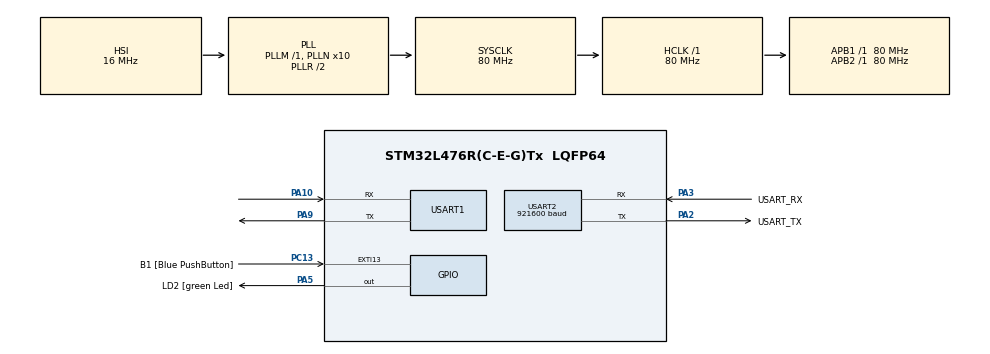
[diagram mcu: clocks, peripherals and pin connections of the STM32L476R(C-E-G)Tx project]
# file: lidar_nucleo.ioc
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FREERTOS.Tasks01=defaultTask,0,128,StartDefaultTask,Default,NULL,Dynamic,NULL,NULL
FREERTOS.configTOTAL_HEAP_SIZE=20000
Mcu.Family=STM32L4
Mcu.Name=STM32L476R(C-E-G)Tx
Mcu.Package=LQFP64
NVIC.PriorityGroup=NVIC_PRIORITYGROUP_4
NVIC.USART1_IRQn=true\:5\:0\:false\:false\:true\:true\:true\:true\:true
PA10.Mode=Asynchronous
PA10.Signal=USART1_RX
PA13\ (JTMS-SWDIO).GPIO_Label=TMS
PA13\ (JTMS-SWDIO).Mode=Serial_Wire
PA13\ (JTMS-SWDIO).Signal=SYS_JTMS-SWDIO
PA14\ (JTCK-SWCLK).GPIO_Label=TCK
PA14\ (JTCK-SWCLK).Mode=Serial_Wire
PA14\ (JTCK-SWCLK).Signal=SYS_JTCK-SWCLK
PA2.GPIO_Label=USART_TX
PA2.GPIO_Mode=GPIO_MODE_AF_PP
PA2.GPIO_PuPd=GPIO_NOPULL
PA2.GPIO_Speed=GPIO_SPEED_FREQ_VERY_HIGH
PA2.Mode=Asynchronous
PA2.Signal=USART2_TX
PA3.GPIO_Label=USART_RX
PA3.GPIO_Mode=GPIO_MODE_AF_PP
PA3.GPIO_PuPd=GPIO_NOPULL
PA3.GPIO_Speed=GPIO_SPEED_FREQ_VERY_HIGH
PA3.Mode=Asynchronous
PA3.Signal=USART2_RX
PA5.GPIO_Label=LD2 [green Led]
PA5.GPIO_ModeDefaultOutputPP=GPIO_MODE_OUTPUT_PP
PA5.GPIO_PuPd=GPIO_NOPULL
PA5.GPIO_Speed=GPIO_SPEED_FREQ_LOW
PA5.Signal=GPIO_Output
PA9.Mode=Asynchronous
PA9.Signal=USART1_TX
PB3\ (JTDO-TRACESWO).GPIO_Label=SWO
PB3\ (JTDO-TRACESWO).Signal=SYS_JTDO-SWO
PC13.GPIO_Label=B1 [Blue PushButton]
PC13.GPIO_ModeDefaultEXTI=GPIO_MODE_IT_FALLING
PC13.GPIO_PuPd=GPIO_NOPULL
PC13.Signal=GPXTI13
PC14-OSC32_IN\ (PC14).Mode=LSE-External-Oscillator
PC14-OSC32_IN\ (PC14).Signal=RCC_OSC32_IN
PC15-OSC32_OUT\ (PC15).Mode=LSE-External-Oscillator
PC15-OSC32_OUT\ (PC15).Signal=RCC_OSC32_OUT
PH0-OSC_IN\ (PH0).Signal=RCC_OSC_IN
PH1-OSC_OUT\ (PH1).Signal=RCC_OSC_OUT
ProjectManager.HeapSize=0x200
ProjectManager.StackSize=0x400
ProjectManager.TargetToolchain=STM32CubeIDE
RCC.ADCFreq_Value=64000000
RCC.AHBFreq_Value=80000000
RCC.APB1Freq_Value=80000000
RCC.APB1TimFreq_Value=80000000
RCC.APB2Freq_Value=80000000
RCC.APB2TimFreq_Value=80000000
RCC.CortexFreq_Value=80000000
RCC.HCLKFreq_Value=80000000
RCC.HSE_VALUE=8000000
RCC.HSI_VALUE=16000000
RCC.MSI_VALUE=4000000
RCC.PLLN=10
RCC.PLLSourceVirtual=RCC_PLLSOURCE_HSI
RCC.SYSCLKFreq_VALUE=80000000
RCC.SYSCLKSource=RCC_SYSCLKSOURCE_PLLCLK
RCC.USBFreq_Value=64000000
RCC.VCOOutputFreq_Value=160000000
USART1.VirtualMode-Asynchronous=VM_ASYNC
USART2.BaudRate=921600
USART2.VirtualMode-Asynchronous=VM_ASYNC
VP_FREERTOS_VS_CMSIS_V1.Mode=CMSIS_V1
board=NUCLEO-L476RG

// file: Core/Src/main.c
/* USER CODE BEGIN Header */
/**
 ******************************************************************************
 * @file           : main.c
 * @brief          : Main program body
 ******************************************************************************
 * @attention
 *
 * Copyright (c) 2025 STMicroelectronics.
 * All rights reserved.
 *
 * This software is licensed under terms that can be found in the LICENSE file
 * in the root directory of this software component.
 * If no LICENSE file comes with this software, it is provided AS-IS.
 *
 ******************************************************************************
 */
/* USER CODE END Header */
#include "main.h"
#include "cmsis_os.h"
#include "usart.h"
#include "gpio.h"

/* USER CODE BEGIN Includes */
#include <stdio.h>
#include <string.h>
#include <math.h>
#include <stdlib.h>
#include "lidar.h"

/* USER CODE END Includes */

/* USER CODE BEGIN PV */

uint8_t UART1_RxBuffer[LIDAR_UART_RX_BUFFER_SIZE];
uint16_t taille = 0;

float cercle[360];

static TaskHandle_t h_task_uart;

/* USER CODE END PV */

void SystemClock_Config(void);
void MX_FREERTOS_Init(void);

/* USER CODE BEGIN 0 */

int __io_putchar(int chr)
{
	HAL_UART_Transmit(&huart2, (uint8_t*) &chr, 1, HAL_MAX_DELAY);
	return chr;
}

void HAL_UARTEx_RxEventCallback(UART_HandleTypeDef *huart, uint16_t Size)
{
	lidar_callback_from_isr(huart, Size);
}

extern QueueHandle_t q_usart;

SemaphoreHandle_t cercle_mutex;

void task_lidar_parsing (void * unused)
{
	Parsed_data parsed_data;

	for (;;)
	{

		lidar_parsing_data(&parsed_data);

		xSemaphoreTake(cercle_mutex, portMAX_DELAY);
		lidar_sampling(&parsed_data, cercle, 300.0f);
		xSemaphoreGive(cercle_mutex);

	}

}

void task_lidar_detection (void * unused)
{

	for (;;)
	{
		vTaskDelay(500/portTICK_PERIOD_MS);

		xSemaphoreTake(cercle_mutex, portMAX_DELAY);

		lidar_detection_target(cercle);

		Cible_lidar cible = detect_min_distance(cercle);

		if (cible.distance != 0)
			printf("objet le plus proche : angle %d, distance : %.2f \r\n", cible.angle, cible.distance);

		memset(cercle, 0, sizeof(cercle));

		xSemaphoreGive(cercle_mutex);

	}
}

/* USER CODE END 0 */

int main(void)
{

	/* MCU Configuration--------------------------------------------------------*/

	/* Reset of all peripherals, Initializes the Flash interface and the Systick. */
	HAL_Init();

	/* Configure the system clock */
	SystemClock_Config();

	/* Initialize all configured peripherals */
	MX_GPIO_Init();
	MX_USART2_UART_Init();
	MX_USART1_UART_Init();
	/* USER CODE BEGIN 2 */

	printf("\r\n==== PROJET ESE ROBOT CHAT YDLIDAR X2 NUCLEO ====\r\n");

	lidar_init();
	cercle_mutex = xSemaphoreCreateMutex();
	if (xTaskCreate(task_lidar_parsing, "lidar_parsing", 2048, NULL, 3, &h_task_uart) != pdPASS)
	{
		printf("Error creating task lidar parsing\r\n");
		Error_Handler();
	}

	if (xTaskCreate(task_lidar_detection, "lidar_detection", 1024, NULL, 5, NULL) != pdPASS)
	{
		printf("Error creating task lidar detection\r\n");
		Error_Handler();
	}

	/* USER CODE END 2 */

	/* Call init function for freertos objects (in cmsis_os2.c) */
	MX_FREERTOS_Init();

	/* Start scheduler */
	osKernelStart();

	/* We should never get here as control is now taken by the scheduler */

	/* Infinite loop */
	while (1)
	{

	}
}

void SystemClock_Config(void)
{
	RCC_OscInitTypeDef RCC_OscInitStruct = {0};
	RCC_ClkInitTypeDef RCC_ClkInitStruct = {0};

	/** Configure the main internal regulator output voltage
	 */
	if (HAL_PWREx_ControlVoltageScaling(PWR_REGULATOR_VOLTAGE_SCALE1) != HAL_OK)
	{
		Error_Handler();
	}

	/** Initializes the RCC Oscillators according to the specified parameters
	 * in the RCC_OscInitTypeDef structure.
	 */
	RCC_OscInitStruct.OscillatorType = RCC_OSCILLATORTYPE_HSI;
	RCC_OscInitStruct.HSIState = RCC_HSI_ON;
	RCC_OscInitStruct.HSICalibrationValue = RCC_HSICALIBRATION_DEFAULT;
	RCC_OscInitStruct.PLL.PLLState = RCC_PLL_ON;
	RCC_OscInitStruct.PLL.PLLSource = RCC_PLLSOURCE_HSI;
	RCC_OscInitStruct.PLL.PLLM = 1;
	RCC_OscInitStruct.PLL.PLLN = 10;
	RCC_OscInitStruct.PLL.PLLP = RCC_PLLP_DIV7;
	RCC_OscInitStruct.PLL.PLLQ = RCC_PLLQ_DIV2;
	RCC_OscInitStruct.PLL.PLLR = RCC_PLLR_DIV2;
	if (HAL_RCC_OscConfig(&RCC_OscInitStruct) != HAL_OK)
	{
		Error_Handler();
	}

	/** Initializes the CPU, AHB and APB buses clocks
	 */
	RCC_ClkInitStruct.ClockType = RCC_CLOCKTYPE_HCLK|RCC_CLOCKTYPE_SYSCLK
			|RCC_CLOCKTYPE_PCLK1|RCC_CLOCKTYPE_PCLK2;
	RCC_ClkInitStruct.SYSCLKSource = RCC_SYSCLKSOURCE_PLLCLK;
	RCC_ClkInitStruct.AHBCLKDivider = RCC_SYSCLK_DIV1;
	RCC_ClkInitStruct.APB1CLKDivider = RCC_HCLK_DIV1;
	RCC_ClkInitStruct.APB2CLKDivider = RCC_HCLK_DIV1;

	if (HAL_RCC_ClockConfig(&RCC_ClkInitStruct, FLASH_LATENCY_4) != HAL_OK)
	{
		Error_Handler();
	}
}

void Error_Handler(void)
{
	__disable_irq();
	while (1)
	{
	}
}
